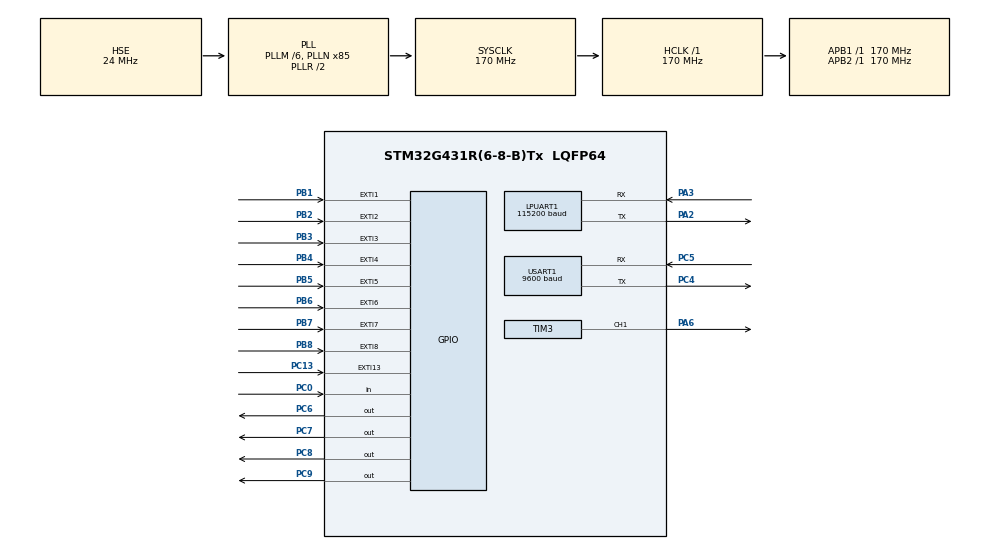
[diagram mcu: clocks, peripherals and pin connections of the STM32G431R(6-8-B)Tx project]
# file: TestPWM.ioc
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LPUART1.BaudRate=115200
Mcu.Family=STM32G4
Mcu.Name=STM32G431R(6-8-B)Tx
Mcu.Package=LQFP64
NVIC.EXTI15_10_IRQn=true\:1\:0\:true\:false\:true\:true\:true\:true
NVIC.EXTI1_IRQn=true\:0\:0\:false\:false\:true\:true\:true\:true
NVIC.EXTI2_IRQn=true\:0\:0\:false\:false\:true\:true\:true\:true
NVIC.EXTI3_IRQn=true\:0\:0\:false\:false\:true\:true\:true\:true
NVIC.EXTI4_IRQn=true\:1\:0\:true\:false\:true\:true\:true\:true
NVIC.EXTI9_5_IRQn=true\:1\:0\:true\:false\:true\:true\:true\:true
NVIC.PriorityGroup=NVIC_PRIORITYGROUP_4
NVIC.TIM4_IRQn=true\:1\:0\:true\:false\:true\:true\:true\:true
NVIC.USART1_IRQn=true\:1\:0\:true\:false\:true\:true\:true\:true
PA2.Mode=Asynchronous
PA2.Signal=LPUART1_TX
PA3.Mode=Asynchronous
PA3.Signal=LPUART1_RX
PA6.Signal=S_TIM3_CH1
PB1.GPIO_ModeDefaultEXTI=GPIO_MODE_IT_FALLING
PB1.GPIO_PuPd=GPIO_PULLUP
PB1.Signal=GPXTI1
PB2.GPIO_ModeDefaultEXTI=GPIO_MODE_IT_FALLING
PB2.GPIO_PuPd=GPIO_PULLUP
PB2.Signal=GPXTI2
PB3.GPIO_ModeDefaultEXTI=GPIO_MODE_IT_FALLING
PB3.GPIO_PuPd=GPIO_PULLUP
PB3.Signal=GPXTI3
PB4.GPIO_ModeDefaultEXTI=GPIO_MODE_IT_FALLING
PB4.GPIO_PuPd=GPIO_PULLUP
PB4.Signal=GPXTI4
PB5.GPIO_ModeDefaultEXTI=GPIO_MODE_IT_FALLING
PB5.GPIO_PuPd=GPIO_PULLUP
PB5.Signal=GPXTI5
PB6.GPIO_ModeDefaultEXTI=GPIO_MODE_IT_FALLING
PB6.GPIO_PuPd=GPIO_PULLUP
PB6.Signal=GPXTI6
PB7.GPIO_ModeDefaultEXTI=GPIO_MODE_IT_FALLING
PB7.GPIO_PuPd=GPIO_PULLUP
PB7.Signal=GPXTI7
PB8-BOOT0.GPIO_ModeDefaultEXTI=GPIO_MODE_IT_FALLING
PB8-BOOT0.GPIO_PuPd=GPIO_PULLUP
PB8-BOOT0.Signal=GPXTI8
PC0.GPIO_PuPd=GPIO_PULLUP
PC0.Signal=GPIO_Input
PC13.GPIO_ModeDefaultEXTI=GPIO_MODE_IT_FALLING
PC13.GPIO_PuPd=GPIO_PULLUP
PC13.Signal=GPXTI13
PC4.Mode=Asynchronous
PC4.Signal=USART1_TX
PC5.Mode=Asynchronous
PC5.Signal=USART1_RX
PC6.PinState=GPIO_PIN_SET
PC6.Signal=GPIO_Output
PC7.PinState=GPIO_PIN_SET
PC7.Signal=GPIO_Output
PC8.PinState=GPIO_PIN_SET
PC8.Signal=GPIO_Output
PC9.PinState=GPIO_PIN_SET
PC9.Signal=GPIO_Output
PF0-OSC_IN.Mode=HSE-External-Oscillator
PF0-OSC_IN.Signal=RCC_OSC_IN
PF1-OSC_OUT.Mode=HSE-External-Oscillator
PF1-OSC_OUT.Signal=RCC_OSC_OUT
ProjectManager.HeapSize=0x200
ProjectManager.StackSize=0x400
ProjectManager.TargetToolchain=STM32CubeIDE
RCC.ADC12Freq_Value=170000000
RCC.AHBFreq_Value=170000000
RCC.APB1Freq_Value=170000000
RCC.APB1TimFreq_Value=170000000
RCC.APB2Freq_Value=170000000
RCC.APB2TimFreq_Value=170000000
RCC.CortexFreq_Value=170000000
RCC.EXTERNAL_CLOCK_VALUE=12288000
RCC.HCLKFreq_Value=170000000
RCC.HSE_VALUE=24000000
RCC.HSI48_VALUE=48000000
RCC.HSI_VALUE=16000000
RCC.LSE_VALUE=32768
RCC.PLLM=RCC_PLLM_DIV6
RCC.PLLN=85
RCC.PLLSourceVirtual=RCC_PLLSOURCE_HSE
RCC.SYSCLKFreq_VALUE=170000000
RCC.SYSCLKSource=RCC_SYSCLKSOURCE_PLLCLK
RCC.USBFreq_Value=170000000
RCC.VCOOutputFreq_Value=340000000
SH.S_TIM3_CH1.0=TIM3_CH1,PWM Generation1 CH1
TIM3.AutoReloadPreload=TIM_AUTORELOAD_PRELOAD_ENABLE
TIM3.Channel-PWM\ Generation1\ CH1=TIM_CHANNEL_1
TIM3.PeriodNoDither=9999
TIM3.Prescaler=1699
TIM3.PulseNoDither_1=5000
TIM4.PeriodNoDither=19999
TIM4.Prescaler=16999
USART1.BaudRate=9600
USART1.VirtualMode-Asynchronous=VM_ASYNC
VP_SYS_VS_DBSignals.Mode=DisableDeadBatterySignals
VP_TIM3_VS_ClockSourceINT.Mode=Internal
VP_TIM4_VS_ClockSourceINT.Mode=Internal
board=custom

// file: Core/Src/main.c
/* USER CODE BEGIN Header */
/**
  ******************************************************************************
  * @file           : main.c
  * @brief          : Main program body
  ******************************************************************************
  * @attention
  *
  * Copyright (c) 2022 STMicroelectronics.
  * All rights reserved.
  *
  * This software is licensed under terms that can be found in the LICENSE file
  * in the root directory of this software component.
  * If no LICENSE file comes with this software, it is provided AS-IS.
  *
  ******************************************************************************
  */
/* USER CODE END Header */
#include "main.h"

/* USER CODE BEGIN Includes */
#include <math.h>
/* USER CODE END Includes */

/* USER CODE BEGIN PM */

const double note_freq[9] = {0 ,262, 294, 330, 349, 392, 440, 494, 523};
//                          rest,do,  re,  mi,  fa,  so,  la,  si,  do_high
const int white_note[9] =        {0,   2,   4,   5,   7,    9,  11,  12}; // shift from MIDDLE_C

#define MIDDLE_C 0x3C

#define DEFAULT_DUTY 95

#define PIANO_MODE 0
#define SONG_MODE_1 1
#define SONG_MODE_2 2
#define SONG_MODE_3 3
#define SONG_MODE_4 4
#define TOTAL_MODES 5

#define OUTPUT_BUZZER 0
#define OUTPUT_MIDI 1

#define KEY0 HAL_GPIO_ReadPin(GPIOC, GPIO_PIN_0) // key0 pushed down is high ttl
#define KEY1 !HAL_GPIO_ReadPin(GPIOC, GPIO_PIN_1)// other keys pushed down is low ttl
#define KEY2 !HAL_GPIO_ReadPin(GPIOC, GPIO_PIN_2)
#define KEY3 !HAL_GPIO_ReadPin(GPIOC, GPIO_PIN_3)
#define KEY4 !HAL_GPIO_ReadPin(GPIOC, GPIO_PIN_4)
#define KEY5 !HAL_GPIO_ReadPin(GPIOC, GPIO_PIN_5)
#define KEY6 !HAL_GPIO_ReadPin(GPIOC, GPIO_PIN_6)
#define KEY7 !HAL_GPIO_ReadPin(GPIOC, GPIO_PIN_7)
#define KEY8 !HAL_GPIO_ReadPin(GPIOC, GPIO_PIN_7)

//#define INCRE 1.05946

const int score[10][4][402] =
{
	{{0}},
	{ // 校歌
		 {200, 3}, // 整体性质：score[i][0][0]速度(bpm),score[i][0][1]整体音调(0C,1C#这样)(挪动几个半音)�?????????
		 {1,1,3,5,5,  6,1,6,5,5,  3,3,5,3,1,  6,1,2,5,
		  6,6,6,1,5,  3,2,3,2,1,  2,5,5,4,5,  6,6,7,6,5,
		  1,1,6,1,    5,5,6,5,    6,6,5,3,    2,2,3,5,
		  1,1,1,3,    2,3,2,1,    6,6,5,3,    2,2,3,1,
		  1,1,0,      6,6,0,      5,5,6,5,    2,2,3,5,
		  1,1,0,      6,6,0,      5,5,6,5,    2,3,2,1,
		  -1}, // 基本音符

		 {2,1,1,2,2,  2,1,1,2,2,  2,2,1,1,2,  2,1,1,4,
		  2,2,1,1,2,  2,2,1,1,2,  2,2,1,1,2,  2,2,1,1,2,
		  3,1,2,2,    2,1,1,4,    3,1,2,2,    2,1,1,2,
		  3,1,2,2,    2,1,1,4,    3,1,2,2,    2,1,1,4,
		  2,4,2,      2,4,2,      2,2,2,2,    2,1,1,4,
		  2,4,2,      2,4,2,      2,2,2,2,    2,1,1,4,
		  -1},// 几拍

		 {0,0,0,0,0,  0,1,0,0,0,  0,0,0,0,0, -1,0,0,0,
		  0,0,0,1,0,  0,0,0,0,0,  0,0,0,2,0,  0,0,0,0,0,
		  1,1,0,1,    0,0,0,0,    0,0,0,0,    0,0,0,0,
		  0,0,0,0,    0,0,0,0,    0,0,0,0,    0,0,0,0,
		  1,1,0,      0,0,0,      0,0,0,0,    0,0,0,0,
		  1,1,0,      0,0,0,      0,0,0,0,    0,0,0,0,
		  -1} //升降�?????????? +1�??????????8度，+2升半音，+3升八度且升半�?????????,-1�??????????8度，-2降半�??????????
	},
	{ // 明明�?????????
		 {280, 0},
		 {3,3,4,3,6,1,2,7,0,3,3,4,3,3,4,5,6,0,3,3,4,3,6,6,0,3,6,6,7,1,0,
		  3,3,4,3,6,1,2,7,0,3,3,4,5,6,7,5,7,6,0,3,4,3,6,6,6,7,2,1,6,6,7,6,6,
		  -1}, // 基本音符

		 {2,2,2,2,1,3,1,2,1,2,2,2,2,1,3,1,2,1,2,2,2,2,1,3,2,2,1,2,2,9,2,
	      2,2,2,2,1,3,1,2,1,2,2,2,2,1,3,1,2,3,2,1,1,2,1,3,1,1,2,1,2,1,1,1,16,
		  -1},// 几拍

		 {1,1,3,1,0,3,1,0,0,1,1,3,1,0,2,2,0,0,1,1,3,1,0,0,0,1,0,0,0,3,0,
	      1,1,3,1,0,3,1,0,0,1,1,3,3,1,1,3,1,1,0,1,3,1,0,0,0,0,1,3,0,0,0,0,0,
		  -1} //升降�?????????? +1�??????????8度，+2升半音，-1�??????????8度，-2降半�??????????
	},
	{ // 十年
		 {280, -3},
		 {1,2,5,3,  3,3,4,5,6,  2,2,4,3,2,  1,3,2,1,7,  1,6,6,0,1,7,6,  7,4,3,2,7,1,  0,1,2,3,  6,3,4,5,3,  2,
		  1,2,5,3,  3,3,4,5,6,  2,2,4,3,2,  1,3,2,1,7,  1,6,6,0,1,7,6,  7,4,3,2,3,2,  1,0,1,2,3,  6,6,3,1,2,1,7,1,
		  -1}, // 基本音符

		 {1,1,1,1,  3,2,1,1,1,  2,3,1,1,1,  3,2,1,1,1,  1,1,2,1,1,1,1,  2,1,1,2,1,3,  1,1,1,1,  3,1,2,1,3,  2,
		  1,1,1,1,  3,2,1,1,1,  3,2,1,1,1,  3,2,1,1,1,  1,1,2,1,1,1,1,  2,1,1,2,1,2,  3,1,1,1,1,  3,1,2,1,7,1,1,4,
		  -1},// 几拍

		 {0,0,0,0,  0,0,0,0,0,  0,0,0,0,0,  0,-1,0,0,-1,  0,-1,-1,0,0,-1,-1,  -1,0,0,0,-1,0,  0,0,0,0,  0,0,0,0,0,  0,
		  0,0,0,0,  0,0,0,0,0,  0,0,0,0,0,  0,-1,0,0,-1,  0,-1,-1,0,0,-1,-1,  -1,0,0,0,0,0,  0,0,0,0,0,  0,0,0,0,0,0,-1,0,
		  -1} //升降�??? +1�???8度，+2升半音，-1�???8度，-2降半�???
	},
	{ // Big Big World
		 {480, 0},
		 {1,2,  3,3,3,3,4,     2,2,2,2,2,3,  1,1,1,1,2,  3,2,2,1,2,  3,3,3,3,4,        2,2,2,2,3,           3,2,1,0,0,      0,3,2,2,3,3,1,2,
		  3,5,3,5,3,5,3,5,     0,3,4,3,2,    2,3,2,1,    0,1,1,      3,2,2,1,2,3,      0,3,2,2,1,           2,2,1,2,3,2,3,  0,2,2,2,1,6,1,    3,2,2,1,  1,2,3,  1,2,
		        3,3,3,3,4,     2,2,2,2,2,3,  1,1,1,1,2,  3,2,2,1,2,  3,5,3,2,3,2,3,2,  0,3,2,1,6,5,5,2,     1,1,0,0,        3,2,1,
		  -1}, // 基本音符

		 {2,2,  4,4,4,2,2,     4,4,2,2,2,2,  4,4,4,2,2,  6,2,4,2,2,  4,4,4,2,2,        4,4,4,2,2,           2,4,2,4,4,      2,1,3,2,1,2,2,2,
		  2,2,2,2,2,2,2,2,     4,2,2,2,6,    2,4,2,8,    4,2,10,     2,2,1,1,4,6,      4,2,2,2,6,           2,4,3,1,1,1,4,  4,2,2,1,1,2,3,    1,1,1,1,  2,2,4,  2,2,
		        4,4,4,2,2,     4,4,2,2,2,2,  4,4,4,2,2,  6,2,4,2,2,  6,4,1,1,1,1,1,5,  2,2,1,1,1,1,2,2,     6,2,4,4,        6,6,20,
		  -1},// 几拍

		 {0,0,  0,0,0,0,0,     0,0,0,0,0,0,  0,0,0,0,0,  0,0,0,0,0,  0,0,0,0,0,        0,0,0,0,0,           0,0,0,0,0,      0,0,0,0,0,0,0,0,
		  0,-1,0,-1,0,-1,0,-1, 0,0,0,0,0,    0,0,0,0,    0,0,0,      0,0,0,0,0,0,      0,0,0,0,0,           0,0,0,0,0,0,0,  0,0,0,0,0,-1,0,   0,0,0,0,  0,0,0,  0,0,
		        0,0,0,0,0,     0,0,0,0,0,0,  0,0,0,0,0,  0,0,0,0,0,  0,0,0,0,0,0,0,0,  0,0,0,0,-1,-1,-1,0,  0,0,0,0,        0,0,0,
		  -1} //升降�??? +1�???8度，+2升半音，-1�???8度，-2降半�???
	},
};

int play_mode = 0;
int output_device = OUTPUT_BUZZER;
int current_note = 0;
int key0_long_pushed = 0;
int sounding_buffer = 0; // 1 needs to sound
int pausing = 0;
double speed = 1.0;
int tone_switching = 0;
int restart = 0;
uint16_t LED_state = 0x03C0;  // 1 for on, 0 for off
uint8_t data_buff[1];

/* USER CODE END PM */

 UART_HandleTypeDef hlpuart1;
UART_HandleTypeDef huart1;

TIM_HandleTypeDef htim3;
TIM_HandleTypeDef htim4;

/* USER CODE BEGIN PV */

void setPWM(double freq, int duty_percent)
{
	if (freq == 0) {
		TIM3->CCR1 = 0;
		return ;
	}
	TIM3->ARR = 100000.0 / freq - 1;
	TIM3->CCR1 = (double)duty_percent * (TIM3->ARR + 1) / 100.0;
}

double note_to_frequency(int note)
{
	return 440.0 * pow(2, (note - 69)/12.0);
}

void produce_sound(int note, int lasting_millisecond)
{
	if (output_device == OUTPUT_BUZZER) {
		if (note == 0) {
			setPWM(0, 100);
			HAL_Delay(lasting_millisecond);
			return ;
		}
		double freq = note_to_frequency(note);
		setPWM(freq, DEFAULT_DUTY);
		HAL_Delay(lasting_millisecond);
		setPWM(0, 100);
		HAL_Delay(50);
	}
	else {
		// send MIDI
		if (note == 0) {
			HAL_Delay(lasting_millisecond);
			return ;
		}
		unsigned char operation;
		unsigned char sound;
		unsigned char force;
		operation = 0x90;
		sound = note;
		force = 0x7F;
		HAL_UART_Transmit(&hlpuart1, &operation, 1, 0xffff);
		HAL_UART_Transmit(&hlpuart1, &sound, 1, 0xffff);
		HAL_UART_Transmit(&hlpuart1, &force, 1, 0xffff);
		HAL_Delay(lasting_millisecond);
		operation = 0x80;
		force = 0x00;
		HAL_UART_Transmit(&hlpuart1, &operation, 1, 0xffff);
		HAL_UART_Transmit(&hlpuart1, &sound, 1, 0xffff);
		HAL_UART_Transmit(&hlpuart1, &force, 1, 0xffff);
		HAL_Delay(50);
	}
}

void init_piano()
{
	produce_sound(0, 1000);
	unsigned int i;
	for (i=0;i<8;i++) {
		produce_sound(MIDDLE_C + white_note[i], 200);
	}
	produce_sound(0, 0);
}

void init_walkman()
{
	pausing = 0;
	speed = 1.0;
//	tone_switching = 0;
}

void HAL_GPIO_EXTI_Callback(uint16_t GPIO_Pin) // Keys interrupt
{
	if (GPIO_Pin == GPIO_PIN_8) {
		if (HAL_GPIO_ReadPin(GPIOC, GPIO_PIN_0)) {
			// switch mode
			play_mode = (play_mode + 1) % TOTAL_MODES;
			switch (play_mode) {
			case PIANO_MODE:
				LED_state |= GPIO_PIN_6 | GPIO_PIN_7 | GPIO_PIN_8 | GPIO_PIN_9;
				HAL_GPIO_WritePin(GPIOC, GPIO_PIN_6, 0);
				HAL_GPIO_WritePin(GPIOC, GPIO_PIN_7, 0);
				HAL_GPIO_WritePin(GPIOC, GPIO_PIN_8, 0);
				HAL_GPIO_WritePin(GPIOC, GPIO_PIN_9, 0);
				break;
			case SONG_MODE_1:
				LED_state |= GPIO_PIN_6;
				LED_state &= ~(GPIO_PIN_7 | GPIO_PIN_8 | GPIO_PIN_9);
				HAL_GPIO_WritePin(GPIOC, GPIO_PIN_6, 0);
				HAL_GPIO_WritePin(GPIOC, GPIO_PIN_7, 1);
				HAL_GPIO_WritePin(GPIOC, GPIO_PIN_8, 1);
				HAL_GPIO_WritePin(GPIOC, GPIO_PIN_9, 1);
				break;
			case SONG_MODE_2:
				LED_state |= GPIO_PIN_7;
				LED_state &= ~(GPIO_PIN_6 | GPIO_PIN_8 | GPIO_PIN_9);
				HAL_GPIO_WritePin(GPIOC, GPIO_PIN_6, 1);
				HAL_GPIO_WritePin(GPIOC, GPIO_PIN_7, 0);
				HAL_GPIO_WritePin(GPIOC, GPIO_PIN_8, 1);
				HAL_GPIO_WritePin(GPIOC, GPIO_PIN_9, 1);
				break;
			case SONG_MODE_3:
				LED_state |= GPIO_PIN_8;
				LED_state &= ~(GPIO_PIN_7 | GPIO_PIN_6 | GPIO_PIN_9);
				HAL_GPIO_WritePin(GPIOC, GPIO_PIN_6, 1);
				HAL_GPIO_WritePin(GPIOC, GPIO_PIN_7, 1);
				HAL_GPIO_WritePin(GPIOC, GPIO_PIN_8, 0);
				HAL_GPIO_WritePin(GPIOC, GPIO_PIN_9, 1);
				break;
			case SONG_MODE_4:
				LED_state |= GPIO_PIN_9;
				LED_state &= ~(GPIO_PIN_7 | GPIO_PIN_8 | GPIO_PIN_6);
				HAL_GPIO_WritePin(GPIOC, GPIO_PIN_6, 1);
				HAL_GPIO_WritePin(GPIOC, GPIO_PIN_7, 1);
				HAL_GPIO_WritePin(GPIOC, GPIO_PIN_8, 1);
				HAL_GPIO_WritePin(GPIOC, GPIO_PIN_9, 0);
				break;
			}
		}
		return ;
	}

	if (play_mode == PIANO_MODE) {
		current_note = MIDDLE_C;
		switch (GPIO_Pin) {
		case GPIO_PIN_1: current_note += white_note[0]; break;
		case GPIO_PIN_2: current_note += white_note[1]; break;
		case GPIO_PIN_3: current_note += white_note[2]; break;
		case GPIO_PIN_4: current_note += white_note[3]; break;
		case GPIO_PIN_5: current_note += white_note[4]; break;
		case GPIO_PIN_6: current_note += white_note[5]; break;
		case GPIO_PIN_7: current_note += white_note[6]; break;
		}
		if (HAL_GPIO_ReadPin(GPIOC, GPIO_PIN_0)) {
			// big button pushed down
			current_note += 12;
		}
		if (HAL_GPIO_ReadPin(GPIOB, GPIO_PIN_8) == 0) {
			// small button pushed down
			current_note -= 12;
		}
		sounding_buffer = 1;
	}
	else {
		// switch the walkman
		switch (GPIO_Pin) {
		case GPIO_PIN_1: pausing = !pausing; break;
		case GPIO_PIN_2: init_walkman(); tone_switching = 0; restart = 1; break;
		case GPIO_PIN_3: speed += 0.25; break;
		case GPIO_PIN_4: speed -= 0.25; break;
		case GPIO_PIN_5: tone_switching++; break;
		case GPIO_PIN_6: tone_switching--; break;
		case GPIO_PIN_7: tone_switching += 12; break;
		case GPIO_PIN_8: tone_switching -= 12; break;
		}
	}
	int i;
	for (i=0;i<0x3fff;i++);
}

void play_music(const int* pnote, const int* pbeat, const int* ptone,
		int bpm, int tone_shift)
{
	int i;
	int init_mode = play_mode;
	int init_tone = tone_switching;
	if (init_mode == 0)
		return ;
	restart = 0;
	for (i=0;pnote[i]!=-1 && play_mode == init_mode && tone_switching==init_tone && !restart;i++) {
		while (pausing) ;
		int note = pnote[i]>0?(white_note[pnote[i]-1] + MIDDLE_C):0;
		switch (ptone[i]) {
		case 1:  note += 12; break;
		case 3:  note += 13; break;
		case -1: note -= 12; break;
		case 2:  note++; break;
		case -2: note--; break;
		case -3: note -= 13; break;
		}
		if (note != 0)
			note += tone_switching + tone_shift;
		produce_sound(note, 60*1000*pbeat[i]/bpm/speed);
	}
}
int key0_last_status = 0;
void HAL_TIM_PeriodElapsedCallback(TIM_HandleTypeDef *htim) //定时器的定时回调函数
{
	if (htim->Instance==TIM4) //确定�?????? TIM4 引起的中�??????
	{
		if (key0_last_status && KEY0) {
			// long pressed
			key0_long_pushed = 1;
			output_device = !output_device;
			if (output_device==OUTPUT_MIDI) {
				uint16_t i;
				for (i=0x0040;i<=0x0200;i<<=1)
					if (LED_state & i) {
						HAL_GPIO_WritePin(GPIOC, i, 0);
					}
			}
			while (KEY0);
		}
		key0_last_status = KEY0;
		if (output_device == OUTPUT_BUZZER) {
			// blinking for BUZZER MODE
			uint16_t i;
			for (i=0x0040;i<=0x0200;i<<=1)
			if (LED_state & i) {
				HAL_GPIO_TogglePin(GPIOC, i);
			}
		}
	}
}

void HAL_UART_RxCpltCallback(UART_HandleTypeDef *huart)
{
  /* Prevent unused argument(s) compilation warning */
    UNUSED(huart);
    switch (data_buff[0]) {
	case 0x01: pausing = !pausing; break;
	case 0x02: init_walkman(); tone_switching = 0; restart = 1; break;
	case 0x03: speed += 0.25; break;
	case 0x04: speed -= 0.25; break;
	case 0x05: tone_switching++; break;
	case 0x06: tone_switching--; break;
	case 0x07: tone_switching+=12; break;
	case 0x08: tone_switching-=12; break;
	case 0x10: play_mode = 1; break;
	case 0x11: play_mode = 2; break;
	case 0x12: play_mode = 3; break;
	//		case GPIO_PIN_7: tone += 12; break;
	//		case GPIO_PIN_8: tone -= 12; break;
	}
  while(HAL_UART_Receive_IT(&huart1, data_buff, 1) != HAL_OK); // Wait completly receive 1 byte data, and put data in rDataBuffer
}

/* USER CODE END PV */

void SystemClock_Config(void);
static void MX_GPIO_Init(void);
static void MX_TIM3_Init(void);
static void MX_LPUART1_UART_Init(void);
static void MX_TIM4_Init(void);
static void MX_USART1_UART_Init(void);

int main(void)
{

  /* MCU Configuration--------------------------------------------------------*/

  /* Reset of all peripherals, Initializes the Flash interface and the Systick. */
  HAL_Init();

  /* Configure the system clock */
  SystemClock_Config();

  /* Initialize all configured peripherals */
  MX_GPIO_Init();
  MX_TIM3_Init();
  MX_LPUART1_UART_Init();
  MX_TIM4_Init();
  MX_USART1_UART_Init();
  /* USER CODE BEGIN 2 */
  HAL_TIM_PWM_Start(&htim3, TIM_CHANNEL_1); //启动定时器TIM3通道1的PWM输出
  HAL_TIM_Base_Start_IT(&htim4);
  //定义函数
  setPWM(0, DEFAULT_DUTY);
  HAL_UART_Receive_IT(&huart1,data_buff, 1);
  /* USER CODE END 2 */

  /* Infinite loop */
  while (1)
  {

    /* USER CODE BEGIN 3 */
	  if (play_mode == PIANO_MODE) {
		  init_piano();
		  while (play_mode==PIANO_MODE) {
			  if (sounding_buffer) {
				  produce_sound(current_note, 500);
				  sounding_buffer = 0;
			  }
		  }
	  }
	  init_walkman();
	  HAL_Delay(1000);
	  play_music(score[play_mode][1], score[play_mode][2], score[play_mode][3],
			  score[play_mode][0][0], score[play_mode][0][1]);
	  // score[music_num(SONG_MODE_1/2/...)][note/beat/tone]
  }
  /* USER CODE END 3 */
}

void SystemClock_Config(void)
{
  RCC_OscInitTypeDef RCC_OscInitStruct = {0};
  RCC_ClkInitTypeDef RCC_ClkInitStruct = {0};

  /** Configure the main internal regulator output voltage
  */
  HAL_PWREx_ControlVoltageScaling(PWR_REGULATOR_VOLTAGE_SCALE1_BOOST);

  /** Initializes the RCC Oscillators according to the specified parameters
  * in the RCC_OscInitTypeDef structure.
  */
  RCC_OscInitStruct.OscillatorType = RCC_OSCILLATORTYPE_HSE;
  RCC_OscInitStruct.HSEState = RCC_HSE_ON;
  RCC_OscInitStruct.PLL.PLLState = RCC_PLL_ON;
  RCC_OscInitStruct.PLL.PLLSource = RCC_PLLSOURCE_HSE;
  RCC_OscInitStruct.PLL.PLLM = RCC_PLLM_DIV6;
  RCC_OscInitStruct.PLL.PLLN = 85;
  RCC_OscInitStruct.PLL.PLLP = RCC_PLLP_DIV2;
  RCC_OscInitStruct.PLL.PLLQ = RCC_PLLQ_DIV2;
  RCC_OscInitStruct.PLL.PLLR = RCC_PLLR_DIV2;
  if (HAL_RCC_OscConfig(&RCC_OscInitStruct) != HAL_OK)
  {
    Error_Handler();
  }

  /** Initializes the CPU, AHB and APB buses clocks
  */
  RCC_ClkInitStruct.ClockType = RCC_CLOCKTYPE_HCLK|RCC_CLOCKTYPE_SYSCLK
                              |RCC_CLOCKTYPE_PCLK1|RCC_CLOCKTYPE_PCLK2;
  RCC_ClkInitStruct.SYSCLKSource = RCC_SYSCLKSOURCE_PLLCLK;
  RCC_ClkInitStruct.AHBCLKDivider = RCC_SYSCLK_DIV1;
  RCC_ClkInitStruct.APB1CLKDivider = RCC_HCLK_DIV1;
  RCC_ClkInitStruct.APB2CLKDivider = RCC_HCLK_DIV1;

  if (HAL_RCC_ClockConfig(&RCC_ClkInitStruct, FLASH_LATENCY_4) != HAL_OK)
  {
    Error_Handler();
  }
}

static void MX_LPUART1_UART_Init(void)
{

  hlpuart1.Instance = LPUART1;
  hlpuart1.Init.BaudRate = 115200;
  hlpuart1.Init.WordLength = UART_WORDLENGTH_8B;
  hlpuart1.Init.StopBits = UART_STOPBITS_1;
  hlpuart1.Init.Parity = UART_PARITY_NONE;
  hlpuart1.Init.Mode = UART_MODE_TX_RX;
  hlpuart1.Init.HwFlowCtl = UART_HWCONTROL_NONE;
  hlpuart1.Init.OneBitSampling = UART_ONE_BIT_SAMPLE_DISABLE;
  hlpuart1.Init.ClockPrescaler = UART_PRESCALER_DIV1;
  hlpuart1.AdvancedInit.AdvFeatureInit = UART_ADVFEATURE_NO_INIT;
  if (HAL_UART_Init(&hlpuart1) != HAL_OK)
  {
    Error_Handler();
  }
  if (HAL_UARTEx_SetTxFifoThreshold(&hlpuart1, UART_TXFIFO_THRESHOLD_1_8) != HAL_OK)
  {
    Error_Handler();
  }
  if (HAL_UARTEx_SetRxFifoThreshold(&hlpuart1, UART_RXFIFO_THRESHOLD_1_8) != HAL_OK)
  {
    Error_Handler();
  }
  if (HAL_UARTEx_DisableFifoMode(&hlpuart1) != HAL_OK)
  {
    Error_Handler();
  }

}

static void MX_USART1_UART_Init(void)
{

  huart1.Instance = USART1;
  huart1.Init.BaudRate = 9600;
  huart1.Init.WordLength = UART_WORDLENGTH_8B;
  huart1.Init.StopBits = UART_STOPBITS_1;
  huart1.Init.Parity = UART_PARITY_NONE;
  huart1.Init.Mode = UART_MODE_TX_RX;
  huart1.Init.HwFlowCtl = UART_HWCONTROL_NONE;
  huart1.Init.OverSampling = UART_OVERSAMPLING_16;
  huart1.Init.OneBitSampling = UART_ONE_BIT_SAMPLE_DISABLE;
  huart1.Init.ClockPrescaler = UART_PRESCALER_DIV1;
  huart1.AdvancedInit.AdvFeatureInit = UART_ADVFEATURE_NO_INIT;
  if (HAL_UART_Init(&huart1) != HAL_OK)
  {
    Error_Handler();
  }
  if (HAL_UARTEx_SetTxFifoThreshold(&huart1, UART_TXFIFO_THRESHOLD_1_8) != HAL_OK)
  {
    Error_Handler();
  }
  if (HAL_UARTEx_SetRxFifoThreshold(&huart1, UART_RXFIFO_THRESHOLD_1_8) != HAL_OK)
  {
    Error_Handler();
  }
  if (HAL_UARTEx_DisableFifoMode(&huart1) != HAL_OK)
  {
    Error_Handler();
  }

}

static void MX_TIM3_Init(void)
{

  TIM_ClockConfigTypeDef sClockSourceConfig = {0};
  TIM_MasterConfigTypeDef sMasterConfig = {0};
  TIM_OC_InitTypeDef sConfigOC = {0};

  htim3.Instance = TIM3;
  htim3.Init.Prescaler = 1699;
  htim3.Init.CounterMode = TIM_COUNTERMODE_UP;
  htim3.Init.Period = 9999;
  htim3.Init.ClockDivision = TIM_CLOCKDIVISION_DIV1;
  htim3.Init.AutoReloadPreload = TIM_AUTORELOAD_PRELOAD_ENABLE;
  if (HAL_TIM_Base_Init(&htim3) != HAL_OK)
  {
    Error_Handler();
  }
  sClockSourceConfig.ClockSource = TIM_CLOCKSOURCE_INTERNAL;
  if (HAL_TIM_ConfigClockSource(&htim3, &sClockSourceConfig) != HAL_OK)
  {
    Error_Handler();
  }
  if (HAL_TIM_PWM_Init(&htim3) != HAL_OK)
  {
    Error_Handler();
  }
  sMasterConfig.MasterOutputTrigger = TIM_TRGO_RESET;
  sMasterConfig.MasterSlaveMode = TIM_MASTERSLAVEMODE_DISABLE;
  if (HAL_TIMEx_MasterConfigSynchronization(&htim3, &sMasterConfig) != HAL_OK)
  {
    Error_Handler();
  }
  sConfigOC.OCMode = TIM_OCMODE_PWM1;
  sConfigOC.Pulse = 5000;
  sConfigOC.OCPolarity = TIM_OCPOLARITY_HIGH;
  sConfigOC.OCFastMode = TIM_OCFAST_DISABLE;
  if (HAL_TIM_PWM_ConfigChannel(&htim3, &sConfigOC, TIM_CHANNEL_1) != HAL_OK)
  {
    Error_Handler();
  }
  HAL_TIM_MspPostInit(&htim3);

}

static void MX_TIM4_Init(void)
{

  TIM_ClockConfigTypeDef sClockSourceConfig = {0};
  TIM_MasterConfigTypeDef sMasterConfig = {0};

  htim4.Instance = TIM4;
  htim4.Init.Prescaler = 16999;
  htim4.Init.CounterMode = TIM_COUNTERMODE_UP;
  htim4.Init.Period = 19999;
  htim4.Init.ClockDivision = TIM_CLOCKDIVISION_DIV1;
  htim4.Init.AutoReloadPreload = TIM_AUTORELOAD_PRELOAD_DISABLE;
  if (HAL_TIM_Base_Init(&htim4) != HAL_OK)
  {
    Error_Handler();
  }
  sClockSourceConfig.ClockSource = TIM_CLOCKSOURCE_INTERNAL;
  if (HAL_TIM_ConfigClockSource(&htim4, &sClockSourceConfig) != HAL_OK)
  {
    Error_Handler();
  }
  sMasterConfig.MasterOutputTrigger = TIM_TRGO_RESET;
  sMasterConfig.MasterSlaveMode = TIM_MASTERSLAVEMODE_DISABLE;
  if (HAL_TIMEx_MasterConfigSynchronization(&htim4, &sMasterConfig) != HAL_OK)
  {
    Error_Handler();
  }

}

static void MX_GPIO_Init(void)
{
  GPIO_InitTypeDef GPIO_InitStruct = {0};

  /* GPIO Ports Clock Enable */
  __HAL_RCC_GPIOC_CLK_ENABLE();
  __HAL_RCC_GPIOF_CLK_ENABLE();
  __HAL_RCC_GPIOA_CLK_ENABLE();
  __HAL_RCC_GPIOB_CLK_ENABLE();

  /*Configure GPIO pin Output Level */
  HAL_GPIO_WritePin(GPIOC, GPIO_PIN_6|GPIO_PIN_7|GPIO_PIN_8|GPIO_PIN_9, GPIO_PIN_SET);

  /*Configure GPIO pin : PC13 */
  GPIO_InitStruct.Pin = GPIO_PIN_13;
  GPIO_InitStruct.Mode = GPIO_MODE_IT_FALLING;
  GPIO_InitStruct.Pull = GPIO_PULLUP;
  HAL_GPIO_Init(GPIOC, &GPIO_InitStruct);

  /*Configure GPIO pin : PC0 */
  GPIO_InitStruct.Pin = GPIO_PIN_0;
  GPIO_InitStruct.Mode = GPIO_MODE_INPUT;
  GPIO_InitStruct.Pull = GPIO_PULLUP;
  HAL_GPIO_Init(GPIOC, &GPIO_InitStruct);

  /*Configure GPIO pins : PB1 PB2 PB3 PB4
                           PB5 PB6 PB7 PB8 */
  GPIO_InitStruct.Pin = GPIO_PIN_1|GPIO_PIN_2|GPIO_PIN_3|GPIO_PIN_4
                          |GPIO_PIN_5|GPIO_PIN_6|GPIO_PIN_7|GPIO_PIN_8;
  GPIO_InitStruct.Mode = GPIO_MODE_IT_FALLING;
  GPIO_InitStruct.Pull = GPIO_PULLUP;
  HAL_GPIO_Init(GPIOB, &GPIO_InitStruct);

  /*Configure GPIO pins : PC6 PC7 PC8 PC9 */
  GPIO_InitStruct.Pin = GPIO_PIN_6|GPIO_PIN_7|GPIO_PIN_8|GPIO_PIN_9;
  GPIO_InitStruct.Mode = GPIO_MODE_OUTPUT_PP;
  GPIO_InitStruct.Pull = GPIO_NOPULL;
  GPIO_InitStruct.Speed = GPIO_SPEED_FREQ_LOW;
  HAL_GPIO_Init(GPIOC, &GPIO_InitStruct);

  /* EXTI interrupt init*/
  HAL_NVIC_SetPriority(EXTI1_IRQn, 0, 0);
  HAL_NVIC_EnableIRQ(EXTI1_IRQn);

  HAL_NVIC_SetPriority(EXTI2_IRQn, 0, 0);
  HAL_NVIC_EnableIRQ(EXTI2_IRQn);

  HAL_NVIC_SetPriority(EXTI3_IRQn, 0, 0);
  HAL_NVIC_EnableIRQ(EXTI3_IRQn);

  HAL_NVIC_SetPriority(EXTI4_IRQn, 1, 0);
  HAL_NVIC_EnableIRQ(EXTI4_IRQn);

  HAL_NVIC_SetPriority(EXTI9_5_IRQn, 1, 0);
  HAL_NVIC_EnableIRQ(EXTI9_5_IRQn);

  HAL_NVIC_SetPriority(EXTI15_10_IRQn, 1, 0);
  HAL_NVIC_EnableIRQ(EXTI15_10_IRQn);

}

void Error_Handler(void)
{
  __disable_irq();
  while (1)
  {
  }
}
